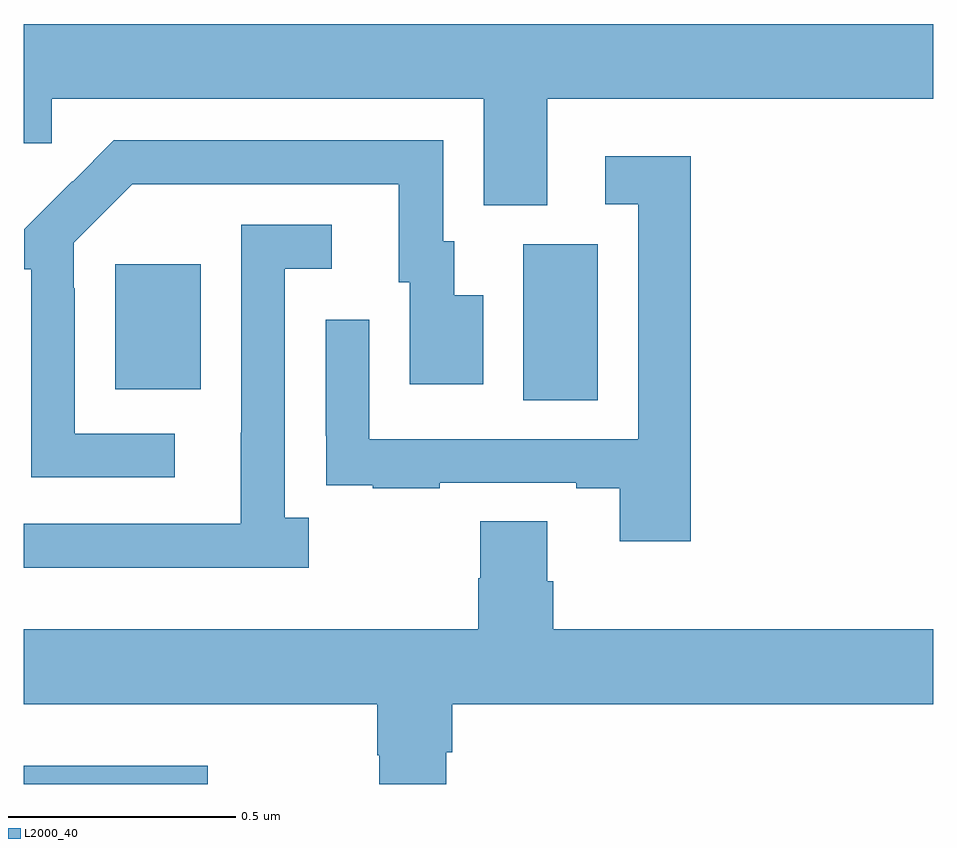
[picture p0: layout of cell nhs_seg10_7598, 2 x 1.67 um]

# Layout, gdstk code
import gdstk
lib = gdstk.Library(unit=1e-6, precision=1e-09)
def R(c, l, rs):  # rectangles x0, y0, x1, y1
    for r in rs: c.add(gdstk.rectangle(r[:2], r[2:], *l))
def P(c, l, *ps):  # polygons
    for p in ps: c.add(gdstk.Polygon(p, *l))
L2000_40 = (2000, 40)

nhs_seg10_7598 = lib.new_cell('nhs_seg10_7598')
R(nhs_seg10_7598, L2000_40, [(206,1273.5,206.404,1273.54), (207.098,1274.344,207.262,1274.688), (206.201,1274.369,206.389,1274.644)])
P(nhs_seg10_7598, L2000_40, [(206,1274.91),(206.061,1274.91),(206.061,1275.008),(207.011,1275.008),(207.011,1274.773),(207.151,1274.773),(207.151,1275.008),(208,1275.008),(208,1275.172),(206,1275.172)],
  [(206.332,1274.271),(206.112,1274.271),(206.112,1274.591),(206.109,1274.591),(206.109,1274.691),(206.238,1274.82),(206.825,1274.82),(206.825,1274.604),(206.849,1274.604),(206.849,1274.379),(207.01,1274.379),(207.01,1274.575),(206.947,1274.575),(206.947,1274.694),(206.922,1274.694),(206.922,1274.916),(206.198,1274.916),(206.107,1274.825),(206.106,1274.826),(206.001,1274.721),(206.001,1274.633),(206.016,1274.633),(206.016,1274.175),(206.332,1274.175)],
  [(207.467,1274.881),(207.279,1274.881),(207.279,1274.775),(207.351,1274.775),(207.351,1274.259),(206.76,1274.259),(206.76,1274.521),(206.664,1274.521),(206.664,1274.266),(206.665,1274.266),(206.665,1274.157),(206.767,1274.157),(206.767,1274.151),(206.915,1274.151),(206.915,1274.163),(207.215,1274.163),(207.215,1274.151),(207.311,1274.151),(207.311,1274.034),(207.467,1274.034)],
  [(206.626,1274.086),(206.574,1274.086),(206.574,1274.634),(206.677,1274.634),(206.677,1274.73),(206.478,1274.73),(206.478,1274.273),(206.477,1274.273),(206.477,1274.073),(206,1274.073),(206,1273.976),(206.626,1273.976)],
  [(206.929,1273.57),(206.942,1273.57),(206.942,1273.676),(208,1273.676),(208,1273.84),(207.164,1273.84),(207.164,1273.946),(207.151,1273.946),(207.151,1274.078),(207.004,1274.078),(207.004,1273.953),(206.999,1273.953),(206.999,1273.84),(206,1273.84),(206,1273.676),(206.777,1273.676),(206.777,1273.563),(206.782,1273.563),(206.782,1273.5),(206.929,1273.5)])

lib.write_gds('nhs_seg10_7598.gds')
